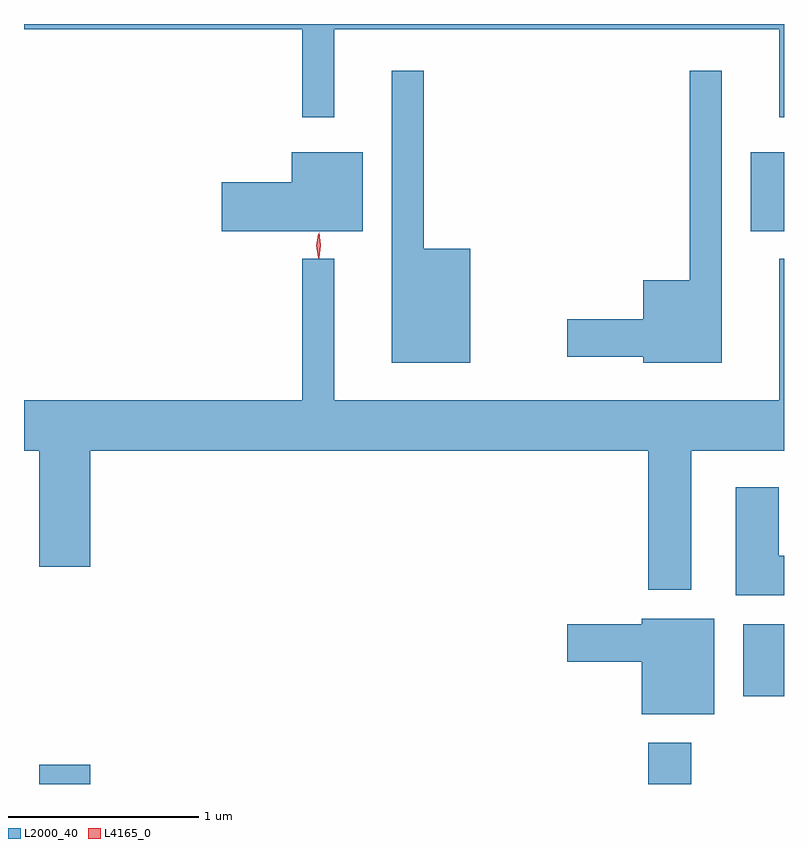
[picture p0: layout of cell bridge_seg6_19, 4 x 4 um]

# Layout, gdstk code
import gdstk
lib = gdstk.Library(unit=1e-6, precision=1e-09)
def R(c, l, rs):  # rectangles x0, y0, x1, y1
    for r in rs: c.add(gdstk.rectangle(r[:2], r[2:], *l))
def P(c, l, *ps):  # polygons
    for p in ps: c.add(gdstk.Polygon(p, *l))
L2000_40 = (2000, 40)
L4165_0 = (4165, 0)

bridge_seg6_19 = lib.new_cell('bridge_seg6_19')
R(bridge_seg6_19, L2000_40, [(1773.516,1663.723,1773.784,1663.824), (1776.721,1663.723,1776.949,1663.939), (1777.221,1664.186,1777.436,1664.564), (1777.261,1666.631,1777.436,1667.049)])
P(bridge_seg6_19, L2000_40, [(1773.436,1667.696),(1774.901,1667.696),(1774.901,1667.233),(1775.069,1667.233),(1775.069,1667.696),(1777.411,1667.696),(1777.411,1667.233),(1777.436,1667.233),(1777.436,1667.723),(1773.436,1667.723)],
  [(1777.109,1667.478),(1776.941,1667.478),(1776.941,1666.374),(1776.696,1666.374),(1776.696,1666.169),(1776.296,1666.169),(1776.296,1665.971),(1776.696,1665.971),(1776.696,1665.941),(1777.109,1665.941)],
  [(1775.784,1666.539),(1775.539,1666.539),(1775.539,1667.478),(1775.371,1667.478),(1775.371,1665.941),(1775.784,1665.941)],
  [(1775.219,1667.049),(1774.846,1667.049),(1774.846,1666.889),(1774.476,1666.889),(1774.476,1666.631),(1775.219,1666.631)],
  [(1776.949,1665.476),(1777.436,1665.476),(1777.436,1666.488),(1777.411,1666.488),(1777.411,1665.744),(1775.069,1665.744),(1775.069,1666.488),(1774.901,1666.488),(1774.901,1665.744),(1773.436,1665.744),(1773.436,1665.476),(1773.516,1665.476),(1773.516,1664.866),(1773.784,1664.866),(1773.784,1665.476),(1776.721,1665.476),(1776.721,1664.746),(1776.949,1664.746)],
  [(1777.436,1664.924),(1777.409,1664.924),(1777.409,1665.284),(1777.181,1665.284),(1777.181,1664.716),(1777.436,1664.716)],
  [(1777.069,1664.594),(1776.686,1664.594),(1776.686,1664.564),(1776.296,1664.564),(1776.296,1664.366),(1776.686,1664.366),(1776.686,1664.091),(1777.069,1664.091)])
P(bridge_seg6_19, L4165_0, [(1774.988,1666.49),(1774.988,1666.49),(1774.979,1666.558),(1774.99,1666.626),(1774.99,1666.626),(1774.99,1666.626),(1774.999,1666.558),(1774.989,1666.49)],
  [(1774.984,1666.493),(1774.975,1666.556),(1774.984,1666.619),(1774.985,1666.62),(1774.985,1666.619),(1774.995,1666.556),(1774.985,1666.493),(1774.985,1666.493)])

lib.write_gds('bridge_seg6_19.gds')
